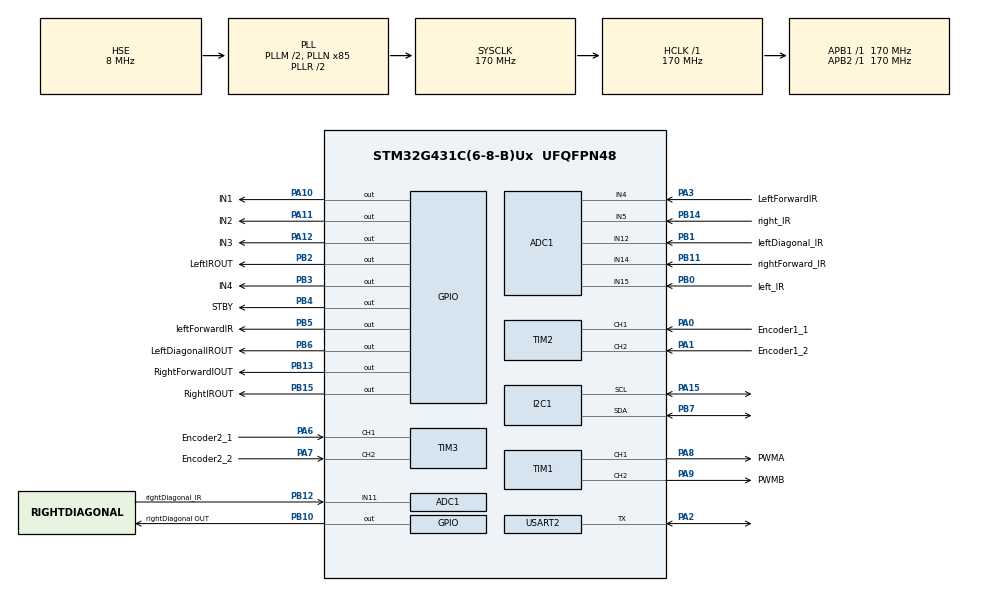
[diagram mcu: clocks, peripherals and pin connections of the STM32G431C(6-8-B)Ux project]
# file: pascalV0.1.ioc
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ADC1.Channel-0\#ChannelRegularConversion=ADC_CHANNEL_12
ADC1.NbrOfConversionFlag=1
ADC1.OffsetNumber-0\#ChannelRegularConversion=ADC_OFFSET_NONE
ADC1.Rank-0\#ChannelRegularConversion=1
ADC1.SamplingTime-0\#ChannelRegularConversion=ADC_SAMPLETIME_47CYCLES_5
ADC1.master=1
I2C1.Timing=0x40B285C2
Mcu.Family=STM32G4
Mcu.Name=STM32G431C(6-8-B)Ux
Mcu.Package=UFQFPN48
NVIC.PriorityGroup=NVIC_PRIORITYGROUP_4
NVIC.TIM6_DAC_IRQn=true\:0\:0\:false\:false\:true\:true\:true\:true
PA0.GPIO_Label=Encoder1_1
PA0.Signal=S_TIM2_CH1
PA1.GPIO_Label=Encoder1_2
PA1.Signal=S_TIM2_CH2
PA10.GPIO_Label=IN1
PA10.Signal=GPIO_Output
PA11.GPIO_Label=IN2
PA11.Signal=GPIO_Output
PA12.GPIO_Label=IN3
PA12.Signal=GPIO_Output
PA13.Mode=Serial_Wire
PA13.Signal=SYS_JTMS-SWDIO
PA14.Mode=Serial_Wire
PA14.Signal=SYS_JTCK-SWCLK
PA15.Mode=I2C
PA15.Signal=I2C1_SCL
PA2.Mode=Half_duplex(single_wire_mode)
PA2.Signal=USART2_TX
PA3.GPIO_Label=LeftForwardIR
PA3.Mode=IN4-Single-Ended
PA3.Signal=ADC1_IN4
PA6.GPIO_Label=Encoder2_1
PA6.Signal=S_TIM3_CH1
PA7.GPIO_Label=Encoder2_2
PA7.Signal=S_TIM3_CH2
PA8.GPIO_Label=PWMA
PA8.Signal=S_TIM1_CH1
PA9.GPIO_Label=PWMB
PA9.Signal=S_TIM1_CH2
PB0.GPIO_Label=left_IR
PB0.Mode=IN15-Single-Ended
PB0.Signal=ADC1_IN15
PB1.GPIO_Label=leftDiagonal_IR
PB1.Signal=SharedAnalog_PB1
PB10.GPIO_Label=rightDiagonal OUT
PB10.Signal=GPIO_Output
PB11.GPIO_Label=rightForward_IR
PB11.Signal=SharedAnalog_PB11
PB12.GPIO_Label=rightDiagonal_IR
PB12.Mode=IN11-Single-Ended
PB12.Signal=ADC1_IN11
PB13.GPIO_Label=RightForwardlOUT
PB13.Signal=GPIO_Output
PB14.GPIO_Label=right_IR
PB14.Mode=IN5-Single-Ended
PB14.Signal=ADC1_IN5
PB15.GPIO_Label=RightIROUT
PB15.Signal=GPIO_Output
PB2.GPIO_Label=LeftIROUT
PB2.Signal=GPIO_Output
PB3.GPIO_Label=IN4
PB3.Signal=GPIO_Output
PB4.GPIO_Label=STBY
PB4.Signal=GPIO_Output
PB5.GPIO_Label=leftForwardIR
PB5.Signal=GPIO_Output
PB6.GPIO_Label=LeftDiagonalIROUT
PB6.Signal=GPIO_Output
PB7.Mode=I2C
PB7.Signal=I2C1_SDA
PF0-OSC_IN.Mode=HSE-External-Oscillator
PF0-OSC_IN.Signal=RCC_OSC_IN
PF1-OSC_OUT.Mode=HSE-External-Oscillator
PF1-OSC_OUT.Signal=RCC_OSC_OUT
ProjectManager.HeapSize=0x200
ProjectManager.StackSize=0x400
ProjectManager.TargetToolchain=STM32CubeIDE
RCC.ADC12Freq_Value=170000000
RCC.AHBFreq_Value=170000000
RCC.APB1Freq_Value=170000000
RCC.APB1TimFreq_Value=170000000
RCC.APB2Freq_Value=170000000
RCC.APB2TimFreq_Value=170000000
RCC.CortexFreq_Value=170000000
RCC.EXTERNAL_CLOCK_VALUE=12288000
RCC.HCLKFreq_Value=170000000
RCC.HSE_VALUE=8000000
RCC.HSI48_VALUE=48000000
RCC.HSI_VALUE=16000000
RCC.LSE_VALUE=32768
RCC.PLLM=RCC_PLLM_DIV2
RCC.PLLN=85
RCC.PLLSourceVirtual=RCC_PLLSOURCE_HSE
RCC.SYSCLKFreq_VALUE=170000000
RCC.SYSCLKSource=RCC_SYSCLKSOURCE_PLLCLK
RCC.USBFreq_Value=170000000
RCC.VCOOutputFreq_Value=340000000
SH.S_TIM1_CH1.0=TIM1_CH1,PWM Generation1 CH1
SH.S_TIM1_CH2.0=TIM1_CH2,PWM Generation2 CH2
SH.S_TIM2_CH1.0=TIM2_CH1,Encoder_Interface
SH.S_TIM2_CH2.0=TIM2_CH2,Encoder_Interface
SH.S_TIM3_CH1.0=TIM3_CH1,Encoder_Interface
SH.S_TIM3_CH2.0=TIM3_CH2,Encoder_Interface
SH.SharedAnalog_PB1.0=OPAMP3_VOUT
SH.SharedAnalog_PB1.1=ADC1_IN12,IN12-Single-Ended
SH.SharedAnalog_PB11.0=ADC2_IN14
SH.SharedAnalog_PB11.1=ADC1_IN14,IN14-Single-Ended
TIM1.Channel-PWM\ Generation1\ CH1=TIM_CHANNEL_1
TIM1.Channel-PWM\ Generation2\ CH2=TIM_CHANNEL_2
TIM6.AutoReloadPreload=TIM_AUTORELOAD_PRELOAD_ENABLE
TIM6.PeriodNoDither=1000-1
TIM6.Prescaler=170-1
USART2.VirtualMode-Half_duplex(single_wire_mode)=VM_ASYNC
VP_SYS_VS_DBSignals.Mode=DisableDeadBatterySignals
VP_TIM1_VS_ClockSourceINT.Mode=Internal
VP_TIM6_VS_ClockSourceINT.Mode=Enable_Timer
board=custom

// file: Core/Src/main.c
/* USER CODE BEGIN Header */
/**
  ******************************************************************************
  * @file           : main.c
  * @brief          : Main program body
  ******************************************************************************
  * @attention
  *
  * Copyright (c) 2026 STMicroelectronics.
  * All rights reserved.
  *
  * This software is licensed under terms that can be found in the LICENSE file
  * in the root directory of this software component.
  * If no LICENSE file comes with this software, it is provided AS-IS.
  *
  ******************************************************************************
  */
/* USER CODE END Header */
#include "main.h"

/* USER CODE BEGIN Includes */

#include <stdio.h>
#include <stdlib.h>
#include <stdbool.h>
#include <string.h>

/* USER CODE END Includes */

/* USER CODE BEGIN PTD */
ADC_HandleTypeDef hadc1;
/* USER CODE END PTD */

/* USER CODE BEGIN PD */
uint16_t adc_pb0;
uint16_t adc_pb1;
uint16_t adc_pa3;
uint16_t adc_pb11;
uint16_t adc_pb12;
uint16_t adc_pb14;
uint16_t min =0;
uint16_t max =4096;
char buffer[140];

/* USER CODE END PD */

ADC_HandleTypeDef hadc1;

I2C_HandleTypeDef hi2c1;

TIM_HandleTypeDef htim1;
TIM_HandleTypeDef htim2;
TIM_HandleTypeDef htim3;
TIM_HandleTypeDef htim6;

UART_HandleTypeDef huart2;

void SystemClock_Config(void);
static void MX_GPIO_Init(void);
static void MX_ADC1_Init(void);
static void MX_I2C1_Init(void);
static void MX_TIM1_Init(void);
static void MX_TIM2_Init(void);
static void MX_TIM3_Init(void);
static void MX_USART2_UART_Init(void);
static void MX_TIM6_Init(void);
/* USER CODE BEGIN PFP */
uint16_t read_adc1_channel(uint32_t channel);
uint16_t read_adc2_channel(uint32_t channel);
/* USER CODE END PFP */

int main(void)
{

  /* MCU Configuration--------------------------------------------------------*/

  /* Reset of all peripherals, Initializes the Flash interface and the Systick. */
  HAL_Init();

  /* Configure the system clock */
  SystemClock_Config();

  /* Initialize all configured peripherals */
  MX_GPIO_Init();
  MX_ADC1_Init();
  MX_I2C1_Init();
  MX_TIM1_Init();
  MX_TIM2_Init();
  MX_TIM3_Init();
  MX_USART2_UART_Init();
  MX_TIM6_Init();

  /* Infinite loop */
  /* USER CODE BEGIN WHILE */
  while (1)
  {

	  adc_pb0  = read_adc1_channel(ADC_CHANNEL_15);
	  adc_pb1  = read_adc1_channel(ADC_CHANNEL_12);
	  adc_pa3  = read_adc1_channel(ADC_CHANNEL_4);
	  adc_pb11 = read_adc1_channel(ADC_CHANNEL_14);
	  adc_pb12 = read_adc1_channel(ADC_CHANNEL_11);
	  adc_pb14 = read_adc1_channel(ADC_CHANNEL_5);

	  sprintf(buffer,
	          "min:%4u PB0:%4u PB1:%4u PB2:%4u PB11:%4u PB12:%4u PB14:%4u max:%4u\r\n",
			  min,
	          adc_pb0,
	          adc_pb1,
	          adc_pa3,
	          adc_pb11,
	          adc_pb12,
	          adc_pb14,
			  max);

	  HAL_UART_Transmit(&huart2,
	                    (uint8_t*)buffer,
	                    strlen(buffer),
	                    HAL_MAX_DELAY);

	  HAL_Delay(10);
    /* USER CODE END WHILE */

  }
}

void SystemClock_Config(void)
{
  RCC_OscInitTypeDef RCC_OscInitStruct = {0};
  RCC_ClkInitTypeDef RCC_ClkInitStruct = {0};

  /** Configure the main internal regulator output voltage
  */
  HAL_PWREx_ControlVoltageScaling(PWR_REGULATOR_VOLTAGE_SCALE1_BOOST);

  /** Initializes the RCC Oscillators according to the specified parameters
  * in the RCC_OscInitTypeDef structure.
  */
  RCC_OscInitStruct.OscillatorType = RCC_OSCILLATORTYPE_HSE;
  RCC_OscInitStruct.HSEState = RCC_HSE_ON;
  RCC_OscInitStruct.PLL.PLLState = RCC_PLL_ON;
  RCC_OscInitStruct.PLL.PLLSource = RCC_PLLSOURCE_HSE;
  RCC_OscInitStruct.PLL.PLLM = RCC_PLLM_DIV2;
  RCC_OscInitStruct.PLL.PLLN = 85;
  RCC_OscInitStruct.PLL.PLLP = RCC_PLLP_DIV2;
  RCC_OscInitStruct.PLL.PLLQ = RCC_PLLQ_DIV2;
  RCC_OscInitStruct.PLL.PLLR = RCC_PLLR_DIV2;
  if (HAL_RCC_OscConfig(&RCC_OscInitStruct) != HAL_OK)
  {
    Error_Handler();
  }

  /** Initializes the CPU, AHB and APB buses clocks
  */
  RCC_ClkInitStruct.ClockType = RCC_CLOCKTYPE_HCLK|RCC_CLOCKTYPE_SYSCLK
                              |RCC_CLOCKTYPE_PCLK1|RCC_CLOCKTYPE_PCLK2;
  RCC_ClkInitStruct.SYSCLKSource = RCC_SYSCLKSOURCE_PLLCLK;
  RCC_ClkInitStruct.AHBCLKDivider = RCC_SYSCLK_DIV1;
  RCC_ClkInitStruct.APB1CLKDivider = RCC_HCLK_DIV1;
  RCC_ClkInitStruct.APB2CLKDivider = RCC_HCLK_DIV1;

  if (HAL_RCC_ClockConfig(&RCC_ClkInitStruct, FLASH_LATENCY_4) != HAL_OK)
  {
    Error_Handler();
  }
}

static void MX_ADC1_Init(void)
{

  ADC_MultiModeTypeDef multimode = {0};
  ADC_ChannelConfTypeDef sConfig = {0};

  /** Common config
  */
  hadc1.Instance = ADC1;
  hadc1.Init.ClockPrescaler = ADC_CLOCK_SYNC_PCLK_DIV4;
  hadc1.Init.Resolution = ADC_RESOLUTION_12B;
  hadc1.Init.DataAlign = ADC_DATAALIGN_RIGHT;
  hadc1.Init.GainCompensation = 0;
  hadc1.Init.ScanConvMode = ADC_SCAN_DISABLE;
  hadc1.Init.EOCSelection = ADC_EOC_SINGLE_CONV;
  hadc1.Init.LowPowerAutoWait = DISABLE;
  hadc1.Init.ContinuousConvMode = DISABLE;
  hadc1.Init.NbrOfConversion = 1;
  hadc1.Init.DiscontinuousConvMode = DISABLE;
  hadc1.Init.ExternalTrigConv = ADC_SOFTWARE_START;
  hadc1.Init.ExternalTrigConvEdge = ADC_EXTERNALTRIGCONVEDGE_NONE;
  hadc1.Init.DMAContinuousRequests = DISABLE;
  hadc1.Init.Overrun = ADC_OVR_DATA_PRESERVED;
  hadc1.Init.OversamplingMode = DISABLE;
  if (HAL_ADC_Init(&hadc1) != HAL_OK)
  {
    Error_Handler();
  }

  /** Configure the ADC multi-mode
  */
  multimode.Mode = ADC_MODE_INDEPENDENT;
  if (HAL_ADCEx_MultiModeConfigChannel(&hadc1, &multimode) != HAL_OK)
  {
    Error_Handler();
  }

  /** Configure Regular Channel
  */
  sConfig.Channel = ADC_CHANNEL_12;
  sConfig.Rank = ADC_REGULAR_RANK_1;
  sConfig.SamplingTime = ADC_SAMPLETIME_2CYCLES_5;
  sConfig.SingleDiff = ADC_SINGLE_ENDED;
  sConfig.OffsetNumber = ADC_OFFSET_NONE;
  sConfig.Offset = 0;
  if (HAL_ADC_ConfigChannel(&hadc1, &sConfig) != HAL_OK)
  {
    Error_Handler();
  }

}

static void MX_I2C1_Init(void)
{

  hi2c1.Instance = I2C1;
  hi2c1.Init.Timing = 0x40B285C2;
  hi2c1.Init.OwnAddress1 = 0;
  hi2c1.Init.AddressingMode = I2C_ADDRESSINGMODE_7BIT;
  hi2c1.Init.DualAddressMode = I2C_DUALADDRESS_DISABLE;
  hi2c1.Init.OwnAddress2 = 0;
  hi2c1.Init.OwnAddress2Masks = I2C_OA2_NOMASK;
  hi2c1.Init.GeneralCallMode = I2C_GENERALCALL_DISABLE;
  hi2c1.Init.NoStretchMode = I2C_NOSTRETCH_DISABLE;
  if (HAL_I2C_Init(&hi2c1) != HAL_OK)
  {
    Error_Handler();
  }

  /** Configure Analogue filter
  */
  if (HAL_I2CEx_ConfigAnalogFilter(&hi2c1, I2C_ANALOGFILTER_ENABLE) != HAL_OK)
  {
    Error_Handler();
  }

  /** Configure Digital filter
  */
  if (HAL_I2CEx_ConfigDigitalFilter(&hi2c1, 0) != HAL_OK)
  {
    Error_Handler();
  }

}

static void MX_TIM1_Init(void)
{

  TIM_ClockConfigTypeDef sClockSourceConfig = {0};
  TIM_MasterConfigTypeDef sMasterConfig = {0};
  TIM_OC_InitTypeDef sConfigOC = {0};
  TIM_BreakDeadTimeConfigTypeDef sBreakDeadTimeConfig = {0};

  htim1.Instance = TIM1;
  htim1.Init.Prescaler = 0;
  htim1.Init.CounterMode = TIM_COUNTERMODE_UP;
  htim1.Init.Period = 65535;
  htim1.Init.ClockDivision = TIM_CLOCKDIVISION_DIV1;
  htim1.Init.RepetitionCounter = 0;
  htim1.Init.AutoReloadPreload = TIM_AUTORELOAD_PRELOAD_DISABLE;
  if (HAL_TIM_Base_Init(&htim1) != HAL_OK)
  {
    Error_Handler();
  }
  sClockSourceConfig.ClockSource = TIM_CLOCKSOURCE_INTERNAL;
  if (HAL_TIM_ConfigClockSource(&htim1, &sClockSourceConfig) != HAL_OK)
  {
    Error_Handler();
  }
  if (HAL_TIM_PWM_Init(&htim1) != HAL_OK)
  {
    Error_Handler();
  }
  sMasterConfig.MasterOutputTrigger = TIM_TRGO_RESET;
  sMasterConfig.MasterOutputTrigger2 = TIM_TRGO2_RESET;
  sMasterConfig.MasterSlaveMode = TIM_MASTERSLAVEMODE_DISABLE;
  if (HAL_TIMEx_MasterConfigSynchronization(&htim1, &sMasterConfig) != HAL_OK)
  {
    Error_Handler();
  }
  sConfigOC.OCMode = TIM_OCMODE_PWM1;
  sConfigOC.Pulse = 0;
  sConfigOC.OCPolarity = TIM_OCPOLARITY_HIGH;
  sConfigOC.OCNPolarity = TIM_OCNPOLARITY_HIGH;
  sConfigOC.OCFastMode = TIM_OCFAST_DISABLE;
  sConfigOC.OCIdleState = TIM_OCIDLESTATE_RESET;
  sConfigOC.OCNIdleState = TIM_OCNIDLESTATE_RESET;
  if (HAL_TIM_PWM_ConfigChannel(&htim1, &sConfigOC, TIM_CHANNEL_1) != HAL_OK)
  {
    Error_Handler();
  }
  if (HAL_TIM_PWM_ConfigChannel(&htim1, &sConfigOC, TIM_CHANNEL_2) != HAL_OK)
  {
    Error_Handler();
  }
  sBreakDeadTimeConfig.OffStateRunMode = TIM_OSSR_DISABLE;
  sBreakDeadTimeConfig.OffStateIDLEMode = TIM_OSSI_DISABLE;
  sBreakDeadTimeConfig.LockLevel = TIM_LOCKLEVEL_OFF;
  sBreakDeadTimeConfig.DeadTime = 0;
  sBreakDeadTimeConfig.BreakState = TIM_BREAK_DISABLE;
  sBreakDeadTimeConfig.BreakPolarity = TIM_BREAKPOLARITY_HIGH;
  sBreakDeadTimeConfig.BreakFilter = 0;
  sBreakDeadTimeConfig.BreakAFMode = TIM_BREAK_AFMODE_INPUT;
  sBreakDeadTimeConfig.Break2State = TIM_BREAK2_DISABLE;
  sBreakDeadTimeConfig.Break2Polarity = TIM_BREAK2POLARITY_HIGH;
  sBreakDeadTimeConfig.Break2Filter = 0;
  sBreakDeadTimeConfig.Break2AFMode = TIM_BREAK_AFMODE_INPUT;
  sBreakDeadTimeConfig.AutomaticOutput = TIM_AUTOMATICOUTPUT_DISABLE;
  if (HAL_TIMEx_ConfigBreakDeadTime(&htim1, &sBreakDeadTimeConfig) != HAL_OK)
  {
    Error_Handler();
  }
  HAL_TIM_MspPostInit(&htim1);

}

static void MX_TIM2_Init(void)
{

  TIM_Encoder_InitTypeDef sConfig = {0};
  TIM_MasterConfigTypeDef sMasterConfig = {0};

  htim2.Instance = TIM2;
  htim2.Init.Prescaler = 0;
  htim2.Init.CounterMode = TIM_COUNTERMODE_UP;
  htim2.Init.Period = 4294967295;
  htim2.Init.ClockDivision = TIM_CLOCKDIVISION_DIV1;
  htim2.Init.AutoReloadPreload = TIM_AUTORELOAD_PRELOAD_DISABLE;
  sConfig.EncoderMode = TIM_ENCODERMODE_TI1;
  sConfig.IC1Polarity = TIM_ICPOLARITY_RISING;
  sConfig.IC1Selection = TIM_ICSELECTION_DIRECTTI;
  sConfig.IC1Prescaler = TIM_ICPSC_DIV1;
  sConfig.IC1Filter = 0;
  sConfig.IC2Polarity = TIM_ICPOLARITY_RISING;
  sConfig.IC2Selection = TIM_ICSELECTION_DIRECTTI;
  sConfig.IC2Prescaler = TIM_ICPSC_DIV1;
  sConfig.IC2Filter = 0;
  if (HAL_TIM_Encoder_Init(&htim2, &sConfig) != HAL_OK)
  {
    Error_Handler();
  }
  sMasterConfig.MasterOutputTrigger = TIM_TRGO_RESET;
  sMasterConfig.MasterSlaveMode = TIM_MASTERSLAVEMODE_DISABLE;
  if (HAL_TIMEx_MasterConfigSynchronization(&htim2, &sMasterConfig) != HAL_OK)
  {
    Error_Handler();
  }

}

static void MX_TIM3_Init(void)
{

  TIM_Encoder_InitTypeDef sConfig = {0};
  TIM_MasterConfigTypeDef sMasterConfig = {0};

  htim3.Instance = TIM3;
  htim3.Init.Prescaler = 0;
  htim3.Init.CounterMode = TIM_COUNTERMODE_UP;
  htim3.Init.Period = 65535;
  htim3.Init.ClockDivision = TIM_CLOCKDIVISION_DIV1;
  htim3.Init.AutoReloadPreload = TIM_AUTORELOAD_PRELOAD_DISABLE;
  sConfig.EncoderMode = TIM_ENCODERMODE_TI1;
  sConfig.IC1Polarity = TIM_ICPOLARITY_RISING;
  sConfig.IC1Selection = TIM_ICSELECTION_DIRECTTI;
  sConfig.IC1Prescaler = TIM_ICPSC_DIV1;
  sConfig.IC1Filter = 0;
  sConfig.IC2Polarity = TIM_ICPOLARITY_RISING;
  sConfig.IC2Selection = TIM_ICSELECTION_DIRECTTI;
  sConfig.IC2Prescaler = TIM_ICPSC_DIV1;
  sConfig.IC2Filter = 0;
  if (HAL_TIM_Encoder_Init(&htim3, &sConfig) != HAL_OK)
  {
    Error_Handler();
  }
  sMasterConfig.MasterOutputTrigger = TIM_TRGO_RESET;
  sMasterConfig.MasterSlaveMode = TIM_MASTERSLAVEMODE_DISABLE;
  if (HAL_TIMEx_MasterConfigSynchronization(&htim3, &sMasterConfig) != HAL_OK)
  {
    Error_Handler();
  }

}

static void MX_TIM6_Init(void)
{

  TIM_MasterConfigTypeDef sMasterConfig = {0};

  htim6.Instance = TIM6;
  htim6.Init.Prescaler = 170-1;
  htim6.Init.CounterMode = TIM_COUNTERMODE_UP;
  htim6.Init.Period = 999;
  htim6.Init.AutoReloadPreload = TIM_AUTORELOAD_PRELOAD_ENABLE;
  if (HAL_TIM_Base_Init(&htim6) != HAL_OK)
  {
    Error_Handler();
  }
  sMasterConfig.MasterOutputTrigger = TIM_TRGO_RESET;
  sMasterConfig.MasterSlaveMode = TIM_MASTERSLAVEMODE_DISABLE;
  if (HAL_TIMEx_MasterConfigSynchronization(&htim6, &sMasterConfig) != HAL_OK)
  {
    Error_Handler();
  }

}

static void MX_USART2_UART_Init(void)
{

  huart2.Instance = USART2;
  huart2.Init.BaudRate = 115200;
  huart2.Init.WordLength = UART_WORDLENGTH_8B;
  huart2.Init.StopBits = UART_STOPBITS_1;
  huart2.Init.Parity = UART_PARITY_NONE;
  huart2.Init.Mode = UART_MODE_TX_RX;
  huart2.Init.HwFlowCtl = UART_HWCONTROL_NONE;
  huart2.Init.OverSampling = UART_OVERSAMPLING_16;
  huart2.Init.OneBitSampling = UART_ONE_BIT_SAMPLE_DISABLE;
  huart2.Init.ClockPrescaler = UART_PRESCALER_DIV1;
  huart2.AdvancedInit.AdvFeatureInit = UART_ADVFEATURE_NO_INIT;
  if (HAL_HalfDuplex_Init(&huart2) != HAL_OK)
  {
    Error_Handler();
  }
  if (HAL_UARTEx_SetTxFifoThreshold(&huart2, UART_TXFIFO_THRESHOLD_1_8) != HAL_OK)
  {
    Error_Handler();
  }
  if (HAL_UARTEx_SetRxFifoThreshold(&huart2, UART_RXFIFO_THRESHOLD_1_8) != HAL_OK)
  {
    Error_Handler();
  }
  if (HAL_UARTEx_DisableFifoMode(&huart2) != HAL_OK)
  {
    Error_Handler();
  }

}

static void MX_GPIO_Init(void)
{
  GPIO_InitTypeDef GPIO_InitStruct = {0};

  /* GPIO Ports Clock Enable */
  __HAL_RCC_GPIOF_CLK_ENABLE();
  __HAL_RCC_GPIOA_CLK_ENABLE();
  __HAL_RCC_GPIOB_CLK_ENABLE();

  /*Configure GPIO pin Output Level */
  HAL_GPIO_WritePin(GPIOB, LeftIROUT_Pin|rightDiagonal_OUT_Pin|RightForwardlOUT_Pin|RightIROUT_Pin
                          |IN4_Pin|STBY_Pin|leftForwardIR_Pin|LeftDiagonalIROUT_Pin, GPIO_PIN_RESET);

  /*Configure GPIO pin Output Level */
  HAL_GPIO_WritePin(GPIOA, IN1_Pin|IN2_Pin|IN3_Pin, GPIO_PIN_RESET);

  /*Configure GPIO pins : leftDiagonal_IR_Pin rightForward_IR_Pin */
  GPIO_InitStruct.Pin = leftDiagonal_IR_Pin|rightForward_IR_Pin;
  GPIO_InitStruct.Mode = GPIO_MODE_ANALOG;
  GPIO_InitStruct.Pull = GPIO_NOPULL;
  HAL_GPIO_Init(GPIOB, &GPIO_InitStruct);

  /*Configure GPIO pins : LeftIROUT_Pin rightDiagonal_OUT_Pin RightForwardlOUT_Pin RightIROUT_Pin
                           IN4_Pin STBY_Pin leftForwardIR_Pin LeftDiagonalIROUT_Pin */
  GPIO_InitStruct.Pin = LeftIROUT_Pin|rightDiagonal_OUT_Pin|RightForwardlOUT_Pin|RightIROUT_Pin
                          |IN4_Pin|STBY_Pin|leftForwardIR_Pin|LeftDiagonalIROUT_Pin;
  GPIO_InitStruct.Mode = GPIO_MODE_OUTPUT_PP;
  GPIO_InitStruct.Pull = GPIO_NOPULL;
  GPIO_InitStruct.Speed = GPIO_SPEED_FREQ_LOW;
  HAL_GPIO_Init(GPIOB, &GPIO_InitStruct);

  /*Configure GPIO pins : IN1_Pin IN2_Pin IN3_Pin */
  GPIO_InitStruct.Pin = IN1_Pin|IN2_Pin|IN3_Pin;
  GPIO_InitStruct.Mode = GPIO_MODE_OUTPUT_PP;
  GPIO_InitStruct.Pull = GPIO_NOPULL;
  GPIO_InitStruct.Speed = GPIO_SPEED_FREQ_LOW;
  HAL_GPIO_Init(GPIOA, &GPIO_InitStruct);

}

/* USER CODE BEGIN 4 */
int __io_putchar(int ch)
{
    HAL_UART_Transmit(&huart2, (uint8_t *)&ch, 1, HAL_MAX_DELAY);
    return ch;
}
/* USER CODE END 4 */

void Error_Handler(void)
{
  __disable_irq();
  while (1)
  {
  }
}
